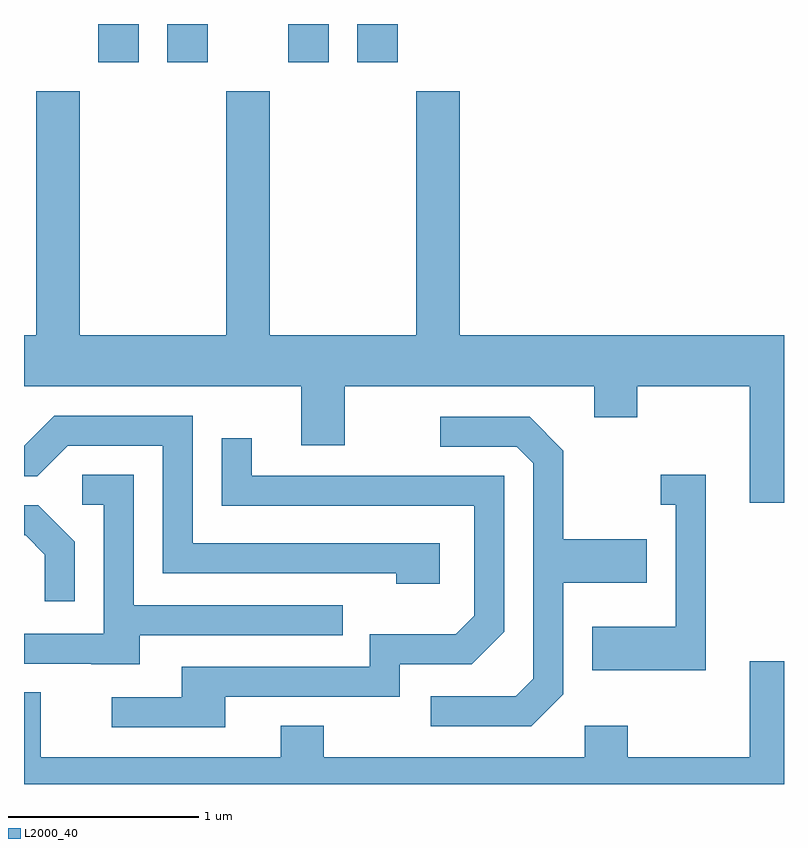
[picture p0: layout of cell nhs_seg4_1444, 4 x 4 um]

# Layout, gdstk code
import gdstk
lib = gdstk.Library(unit=1e-6, precision=1e-09)
def R(c, l, rs):  # rectangles x0, y0, x1, y1
    for r in rs: c.add(gdstk.rectangle(r[:2], r[2:], *l))
def P(c, l, *ps):  # polygons
    for p in ps: c.add(gdstk.Polygon(p, *l))
L2000_40 = (2000, 40)

nhs_seg4_1444 = lib.new_cell('nhs_seg4_1444')
R(nhs_seg4_1444, L2000_40, [(228.001,1289.781,228.214,1289.982), (228.366,1289.781,228.579,1289.982), (229.001,1289.781,229.214,1289.982), (229.366,1289.781,229.579,1289.982)])
P(nhs_seg4_1444, L2000_40, [(231.611,1288.344),(229.904,1288.344),(229.904,1289.629),(229.676,1289.629),(229.676,1288.344),(228.904,1288.344),(228.904,1289.629),(228.676,1289.629),(228.676,1288.344),(227.904,1288.344),(227.904,1289.629),(227.676,1289.629),(227.676,1288.344),(227.611,1288.344),(227.611,1288.076),(229.071,1288.076),(229.071,1287.766),(229.299,1287.766),(229.299,1288.076),(230.611,1288.076),(230.611,1287.911),(230.839,1287.911),(230.839,1288.076),(231.431,1288.076),(231.431,1287.461),(231.611,1287.461)],
  [(229.799,1287.249),(228.499,1287.249),(228.499,1287.919),(227.769,1287.919),(227.611,1287.761),(227.611,1287.601),(227.682,1287.601),(227.842,1287.761),(228.341,1287.761),(228.341,1287.091),(229.571,1287.091),(229.571,1287.036),(229.799,1287.036)],
  [(230.449,1286.454),(230.449,1287.041),(230.889,1287.041),(230.889,1287.269),(230.449,1287.269),(230.449,1287.737),(230.272,1287.914),(229.803,1287.914),(229.803,1287.756),(230.204,1287.756),(230.291,1287.669),(230.291,1286.537),(230.199,1286.444),(229.753,1286.444),(229.753,1286.286),(230.282,1286.286)],
  [(228.669,1286.441),(229.589,1286.441),(229.589,1286.611),(229.967,1286.611),(230.139,1286.784),(230.139,1287.604),(228.809,1287.604),(228.809,1287.803),(228.651,1287.803),(228.651,1287.446),(229.981,1287.446),(229.981,1286.867),(229.884,1286.769),(229.431,1286.769),(229.431,1286.599),(228.441,1286.599),(228.441,1286.439),(228.073,1286.439),(228.073,1286.281),(228.669,1286.281)],
  [(231.199,1287.609),(230.963,1287.609),(230.963,1287.451),(231.041,1287.451),(231.041,1286.809),(230.601,1286.809),(230.601,1286.581),(231.199,1286.581)],
  [(228.219,1286.766),(229.288,1286.766),(229.288,1286.924),(228.189,1286.924),(228.189,1287.609),(227.918,1287.609),(227.918,1287.451),(228.031,1287.451),(228.031,1286.774),(227.611,1286.774),(227.611,1286.616),(227.965,1286.616),(227.965,1286.611),(228.219,1286.611)],
  [(227.879,1287.257),(227.687,1287.449),(227.611,1287.449),(227.611,1287.291),(227.619,1287.291),(227.721,1287.189),(227.721,1286.943),(227.879,1286.943)],
  [(231.611,1286.629),(231.431,1286.629),(231.431,1286.124),(230.789,1286.124),(230.789,1286.289),(230.561,1286.289),(230.561,1286.124),(229.189,1286.124),(229.189,1286.289),(228.961,1286.289),(228.961,1286.124),(227.699,1286.124),(227.699,1286.464),(227.611,1286.464),(227.611,1285.982),(231.611,1285.982)])

lib.write_gds('nhs_seg4_1444.gds')
